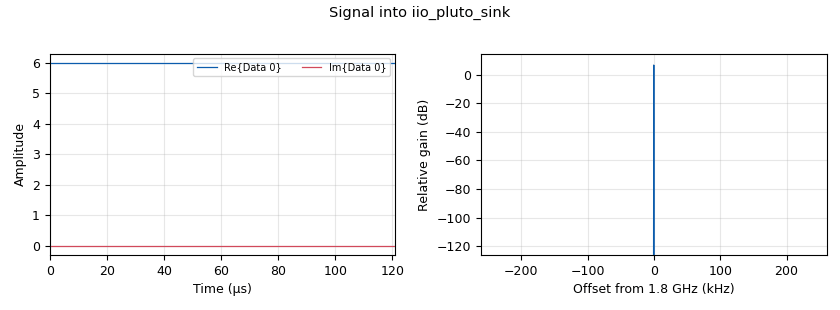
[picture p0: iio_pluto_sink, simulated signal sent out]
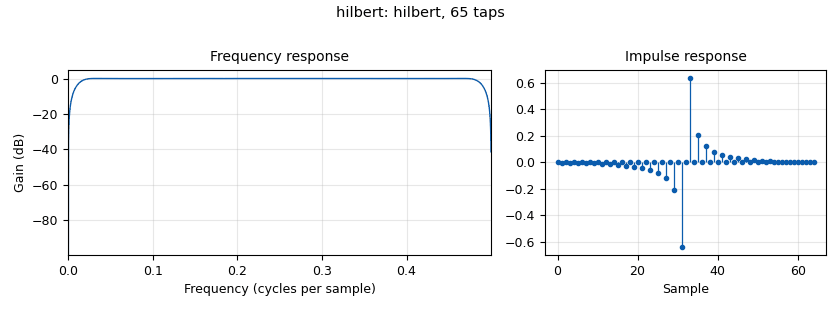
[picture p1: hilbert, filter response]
options:
  parameters:
    author: Frate, M.
    description: Respostas dos sinais para números Reais e Complexos
    generate_options: qt_gui
    id: Amostras_de_sinais
    output_language: python
    title: Amostras_de_sinais (Reais x Complexos)
  states: {}

blocks:
- name: amplitude
  id: variable_qtgui_label
  parameters:
    gui_hint: 0,1,1,1
    label: Amplitude
    type: int
    value: fun_prob
  states: {}
- name: freq
  id: variable_qtgui_range
  parameters:
    gui_hint: 0,0,1,1
    label: Frequency
    min_len: '100'
    rangeType: int
    start: '70000000'
    step: '1000000'
    stop: '6000000000'
    value: '1800000000'
  states: {}
- name: fun_prob
  id: variable_function_probe
  parameters:
    block_id: probSign
    function_name: level
    poll_rate: '100'
    value: '0'
  states: {}
- name: samp_rate
  id: variable
  parameters:
    value: '32000'
  states: {}
- name: analog_sig_source
  id: analog_sig_source_x
  parameters:
    amp: '6'
    freq: '10'
    offset: '0'
    phase: '0'
    samp_rate: samp_rate
    type: float
    waveform: analog.GR_CONST_WAVE
  states: {}
- name: complex_to_mag_Reais
  id: blocks_complex_to_mag
  parameters: {}
  states: {state: disabled}
- name: hilbert
  id: hilbert_fc
  parameters:
    num_taps: '64'
  states: {}
- name: iio_pluto_sink
  id: iio_pluto_sink
  parameters:
    attenuation1: '0'
    bandwidth: '20000000'
    buffer_size: '3200'
    cyclic: 'False'
    filter_source: '''Auto'''
    frequency: freq
    samplerate: '520834'
    type: fc32
    uri: ip:192.168.2.1
  states: {}
- name: iio_pluto_source
  id: iio_pluto_source
  parameters:
    bandwidth: '20000000'
    bbdc: 'False'
    buffer_size: '3200'
    filter_source: '''Auto'''
    frequency: freq
    gain1: '''manual'''
    manual_gain1: '10'
    quadrature: 'False'
    rfdc: 'False'
    samplerate: '520834'
    type: fc32
    uri: ip:192.168.2.1
  states: {}
- name: probSign
  id: blocks_probe_signal_x
  parameters:
    type: complex
  states: {}
- name: probSign_0
  id: blocks_probe_signal_x
  parameters:
    type: float
  states: {state: disabled}
- name: qtgui_time_sink_Complex
  id: qtgui_time_sink_x
  parameters:
    ctrlpanel: 'True'
    grid: 'True'
    label1: Real
    label2: Imaginário
    size: '1024'
    srate: samp_rate
    tr_level: '0'
    tr_mode: qtgui.TRIG_MODE_TAG
    tr_tag: '"packet_len"'
    type: complex
    update_time: '0.010'
    ylabel: Amplitude (V)
    ymax: '2'
    ymin: '-1.5'
  states: {}
- name: qtgui_time_sink_Reais
  id: qtgui_time_sink_x
  parameters:
    ctrlpanel: 'True'
    grid: 'True'
    label1: Real
    size: '1024'
    srate: samp_rate
    type: float
    update_time: '0.010'
    ylabel: Amplitude (V)
    ymax: '2'
    ymin: '-1.5'
  states: {state: disabled}

connections:
- [analog_sig_source, '0', hilbert, '0']
- [complex_to_mag_Reais, '0', probSign_0, '0']
- [complex_to_mag_Reais, '0', qtgui_time_sink_Reais, '0']
- [hilbert, '0', iio_pluto_sink, '0']
- [iio_pluto_source, '0', probSign, '0']
- [iio_pluto_source, '0', qtgui_time_sink_Complex, '0']

metadata:
  file_format: 1
  grc_version: 3.10.7.0
